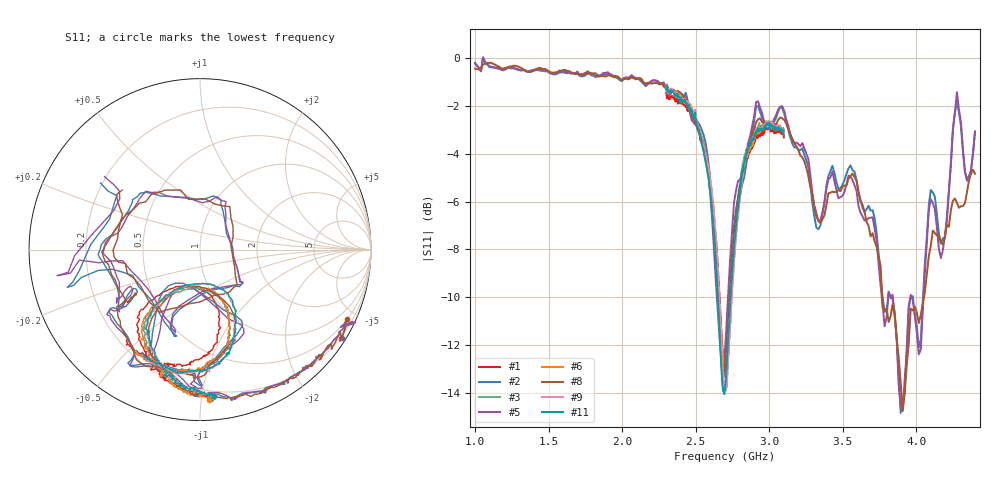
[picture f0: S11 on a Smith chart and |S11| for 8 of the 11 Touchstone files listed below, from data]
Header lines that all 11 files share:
# MHz S MA R 50
!  freq  S11
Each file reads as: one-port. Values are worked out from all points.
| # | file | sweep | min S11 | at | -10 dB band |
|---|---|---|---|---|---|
| 1 | can3_oil_aluminum_1_fine.s1p | 2.3 GHz to 3.1 GHz | -13.2 dB | 2.698 GHz | 79.44 MHz wide |
| 2 | can3_oil_aluminum_2.s1p | 1 GHz to 4.4 GHz | -14.9 dB | 3.895 GHz | 139.6 MHz wide |
| 3 | can3_oil_aluminum_4.1_fine.s1p | 2.3 GHz to 3.1 GHz | -12.9 dB | 2.695 GHz | 73.85 MHz wide |
| 4 | can3_oil_aluminum_4_fine.s1p | 2.3 GHz to 3.1 GHz | -13.4 dB | 2.705 GHz | 80.1 MHz wide |
| 5 | can3_oil_aluminum_5.s1p | 1 GHz to 4.4 GHz | -14.7 dB | 3.908 GHz | 118.5 MHz wide |
| 6 | can3_oil_aluminum_5_fine.s1p | 2.3 GHz to 3.1 GHz | -13.4 dB | 2.705 GHz | 81.04 MHz wide |
| 7 | can3_oil_aluminum_7.1_fine.s1p | 2.3 GHz to 3.1 GHz | -14.0 dB | 2.702 GHz | 84.63 MHz wide |
| 8 | can3_oil_aluminum_8.s1p | 1 GHz to 4.4 GHz | -14.8 dB | 3.908 GHz | 284.6 MHz wide |
| 9 | can3_oil_aluminum_9_fine.s1p | 2.3 GHz to 3.1 GHz | -13.9 dB | 2.705 GHz | 84.97 MHz wide |
| 10 | can3_oil_aluminum_11_fine.s1p | 2.3 GHz to 3.1 GHz | -13.9 dB | 2.692 GHz | 84.86 MHz wide |
| 11 | can3_oil_aluminum_12_fine.s1p | 2.3 GHz to 3.1 GHz | -14.1 dB | 2.695 GHz | 87.1 MHz wide |
